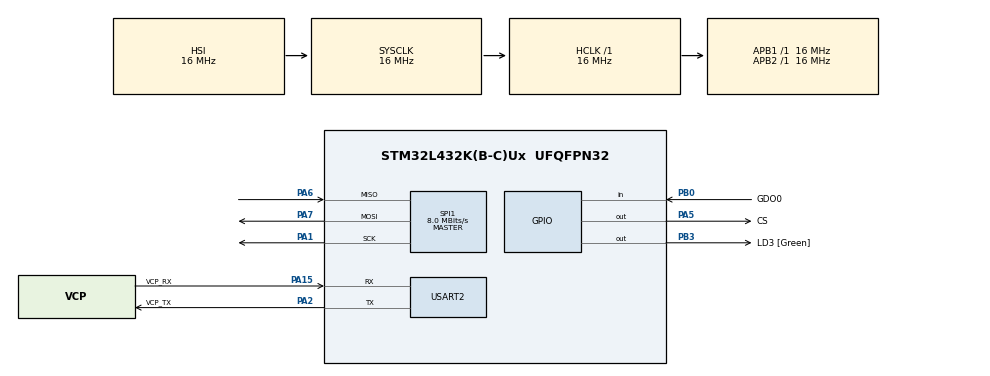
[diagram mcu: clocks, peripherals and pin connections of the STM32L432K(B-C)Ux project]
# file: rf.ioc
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Mcu.Family=STM32L4
Mcu.Name=STM32L432K(B-C)Ux
Mcu.Package=UFQFPN32
NVIC.PriorityGroup=NVIC_PRIORITYGROUP_4
NVIC.TIM1_UP_TIM16_IRQn=true\:0\:0\:false\:false\:true\:false\:true
NVIC.TimeBase=TIM1_UP_TIM16_IRQn
NVIC.TimeBaseIP=TIM1
PA0.GPIO_Label=MCO [High speed clock in]
PA0.Signal=RCC_CK_IN
PA1.Mode=Full_Duplex_Master
PA1.Signal=SPI1_SCK
PA13\ (JTMS-SWDIO).GPIO_Label=SWDIO
PA13\ (JTMS-SWDIO).Mode=Serial_Wire
PA13\ (JTMS-SWDIO).Signal=SYS_JTMS-SWDIO
PA14\ (JTCK-SWCLK).GPIO_Label=SWCLK
PA14\ (JTCK-SWCLK).Mode=Serial_Wire
PA14\ (JTCK-SWCLK).Signal=SYS_JTCK-SWCLK
PA15\ (JTDI).GPIO_Label=VCP_RX
PA15\ (JTDI).Mode=Asynchronous
PA15\ (JTDI).Signal=USART2_RX
PA2.GPIO_Label=VCP_TX
PA2.Mode=Asynchronous
PA2.Signal=USART2_TX
PA5.GPIO_Label=CS
PA5.Signal=GPIO_Output
PA6.Mode=Full_Duplex_Master
PA6.Signal=SPI1_MISO
PA7.Mode=Full_Duplex_Master
PA7.Signal=SPI1_MOSI
PB0.GPIO_Label=GDO0
PB0.Signal=GPIO_Input
PB3\ (JTDO-TRACESWO).GPIO_Label=LD3 [Green]
PB3\ (JTDO-TRACESWO).Signal=GPIO_Output
PC14-OSC32_IN\ (PC14).Mode=LSE-External-Oscillator
PC14-OSC32_IN\ (PC14).Signal=RCC_OSC32_IN
PC15-OSC32_OUT\ (PC15).Mode=LSE-External-Oscillator
PC15-OSC32_OUT\ (PC15).Signal=RCC_OSC32_OUT
ProjectManager.HeapSize=0x200
ProjectManager.StackSize=0x400
ProjectManager.TargetToolchain=STM32CubeIDE
RCC.ADCFreq_Value=16000000
RCC.AHBFreq_Value=16000000
RCC.APB1Freq_Value=16000000
RCC.APB1TimFreq_Value=16000000
RCC.APB2Freq_Value=16000000
RCC.APB2TimFreq_Value=16000000
RCC.CortexFreq_Value=16000000
RCC.HCLKFreq_Value=16000000
RCC.HSE_VALUE=8000000
RCC.HSI16_VALUE=16000000
RCC.HSI48_VALUE=48000000
RCC.HSI_VALUE=16000000
RCC.MSI_VALUE=4000000
RCC.PLLMUL=RCC_PLLMUL_4
RCC.PLLN=16
RCC.SYSCLKFreq_VALUE=16000000
RCC.SYSCLKSource=RCC_SYSCLKSOURCE_HSI
RCC.USBFreq_Value=16000000
RCC.VCOOutputFreq_Value=64000000
SPI1.BaudRatePrescaler=SPI_BAUDRATEPRESCALER_2
SPI1.CLKPhase=SPI_PHASE_1EDGE
SPI1.CalculateBaudRate=8.0 MBits/s
SPI1.DataSize=SPI_DATASIZE_8BIT
SPI1.Direction=SPI_DIRECTION_2LINES
SPI1.Mode=SPI_MODE_MASTER
SPI1.NSSPMode=SPI_NSS_PULSE_DISABLE
SPI1.VirtualType=VM_MASTER
USART2.VirtualMode-Asynchronous=VM_ASYNC
VP_SYS_VS_tim1.Mode=TIM1
board=NUCLEO-L432KC

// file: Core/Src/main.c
/* USER CODE BEGIN Header */
/**
  ******************************************************************************
  * @file           : main.c
  * @brief          : Main program body
  ******************************************************************************
  * @attention
  *
  * <h2><center>&copy; Copyright (c) 2020 STMicroelectronics.
  * All rights reserved.</center></h2>
  *
  * This software component is licensed by ST under BSD 3-Clause license,
  * the "License"; You may not use this file except in compliance with the
  * License. You may obtain a copy of the License at:
  *                        opensource.org/licenses/BSD-3-Clause
  *
  ******************************************************************************
  */
/* USER CODE END Header */

#include "main.h"

/* USER CODE BEGIN Includes */
#include "cc1101.h"

/* USER CODE END Includes */

/* USER CODE BEGIN PTD */
#define state 	0
  //to set transmitter   uint8_t state = 1;
  // to set receiver/modem uint8_t state = 0;
/* USER CODE END PTD */

SPI_HandleTypeDef hspi1;

UART_HandleTypeDef huart2;

/* USER CODE BEGIN PV */
volatile uint8_t GDO0_FLAG;

/* USER CODE END PV */

void SystemClock_Config(void);
static void MX_GPIO_Init(void);
static void MX_USART2_UART_Init(void);
static void MX_SPI1_Init(void);

/* USER CODE BEGIN 0 */
void UserLEDHide()
{
	 HAL_GPIO_WritePin(LD3_GPIO_Port, LD3_Pin, GPIO_PIN_RESET);
}

void UserLEDShow()
{
	 HAL_GPIO_WritePin(LD3_GPIO_Port, LD3_Pin, GPIO_PIN_SET);
}
/* USER CODE END 0 */

int main(void)
{

  /* MCU Configuration--------------------------------------------------------*/

  /* Reset of all peripherals, Initializes the Flash interface and the Systick. */
  HAL_Init();

  /* Configure the system clock */
  SystemClock_Config();

  /* Initialize all configured peripherals */
  MX_GPIO_Init();
  MX_USART2_UART_Init();
  MX_SPI1_Init();
  /* USER CODE BEGIN 2 */
  BYTE status;
  Power_up_reset();
  TI_init(&hspi1, CS_GPIO_Port, CS_Pin);

#if state
  //for transiver
  BYTE veri = 7;
  char packet[] = "RF Test";

  while (1)
  {

	  status = TI_read_status(CCxxx0_VERSION); // it is for checking only //sadece kontrol için
	  //it must be 0x14 //0x14 değeri vermelidir

	  status = TI_read_status(CCxxx0_TXBYTES); // it is too // bu da kontrol için

	  TI_strobe(CCxxx0_SFTX); // flush the buffer //bufferi temizler

	  UserLEDShow(); // turn on the led before send the data // veri göndermeden önce ledi yakar

	  TI_send_packet(packet, sizeof(packet)); //the function is sending the data

	  while(HAL_GPIO_ReadPin(GDO0_GPIO_Port, GDO0_Pin));
	  while(!HAL_GPIO_ReadPin(GDO0_GPIO_Port, GDO0_Pin));
	  //if the pass to this function, the data was sent. // veri gönderme işlemi tamamlanması için bekletir

	  status = TI_read_status(CCxxx0_TXBYTES); // it is checking to send the data //veri gönderildiğini kontrol etmek için

	  UserLEDHide(); // turn off the led // veri gönderildiğinde led söner
	  HAL_Delay(100);
  }

#else
  //for receiver/modem

  MX_USART2_UART_Init();
  init_serial(&huart2);

  char buffer[64];
  char mesaj[7];
  char kontrol[7] = {'R', 'F', ' ', 'T', 'e', 's', 't' };
  uint8_t value = 0;
  BYTE length;

  TI_write_reg(CCxxx0_IOCFG0, 0x06);
  //interrupt setting on GDO0 for data receiving with FIFO
  // GDO0 pininde FIFO ile kullanmak için interrupt ayarı

  /* EXTI interrupt init*/
  __HAL_GPIO_EXTI_CLEAR_IT(GPIO_PIN_0);
  HAL_NVIC_EnableIRQ(EXTI0_IRQn);

  while(1)
  {
	  BYTE status;
	  BYTE LQI;

	  __HAL_GPIO_EXTI_CLEAR_IT(GPIO_PIN_0);

	  GDO0_FLAG = 0;

	  TI_strobe(CCxxx0_SFRX);// Flush the buffer //Bufferi temizle
	  TI_strobe(CCxxx0_SRX); // Set RX Mode //RX moda ayarlar

	  while(GDO0_FLAG == 0);
	  //when the data came, it passes this fucntion
	  //veri geldiğinde bu adımı geçer

	  status = TI_read_status(CCxxx0_RXBYTES);
	  //it is for checking
	  // gelen datanın olup olmadığını denetler

	  if (!(status & 0x7f)) continue;
	  // if it get the data, the code can contuniue
	  // data gelirse, kod devam eder

	  LQI = TI_read_status(CCxxx0_LQI);
	  // LQI is quaility of the receiving data
	  // LQI gelen veri kalitesi

	  if (LQI & 0x80 /*CRC_OK*/)
	  {
		  status = TI_receive_packet(buffer, &length);//read function //okuma fonksiyonu

		  for(uint8_t i = 0; i <7; i++)//to check for receiving data // gelen datayı kontrol etmek için
		  {
			  mesaj[i] = buffer[i];
			  if(strcmp(mesaj[i], kontrol[i])!=0)
			  {
				  value = 1;
				  break;
			  }
		  }

		  //to send over uart on serial port with 9600baudrate
		  // Gelen datayı uart üzerinden 9600 baudrate ile seri porta gönderir
		  HAL_UART_Transmit(&huart2, (uint8_t*)mesaj, sizeof(mesaj), HAL_MAX_DELAY);
		  HAL_UART_Transmit(&huart2, "\n\r", 2, HAL_MAX_DELAY);

		  if (value == 0)
			  // if receiving data is equal to checking data, the led is blink
			  // eğer gelen data kontrol datasına eşitse, led yanıp söner
		  {
			  UserLEDShow();

			  HAL_Delay(50);

			  UserLEDHide();
		  }
	  }
	  else
	  {
		  status = TI_read_status(CCxxx0_PKTSTATUS); // if it isnt, check pktstatus // değilse, paket durumunu kontrol eder

		  GDO0_FLAG = 0;
	  }
  }
#endif

  /* USER CODE END 2 */

  /* Infinite loop */
  while (1)
  {

  }
}

void SystemClock_Config(void)
{
  RCC_OscInitTypeDef RCC_OscInitStruct = {0};
  RCC_ClkInitTypeDef RCC_ClkInitStruct = {0};
  RCC_PeriphCLKInitTypeDef PeriphClkInit = {0};

  /** Initializes the CPU, AHB and APB busses clocks
  */
  RCC_OscInitStruct.OscillatorType = RCC_OSCILLATORTYPE_HSI;
  RCC_OscInitStruct.HSIState = RCC_HSI_ON;
  RCC_OscInitStruct.HSICalibrationValue = RCC_HSICALIBRATION_DEFAULT;
  RCC_OscInitStruct.PLL.PLLState = RCC_PLL_NONE;
  if (HAL_RCC_OscConfig(&RCC_OscInitStruct) != HAL_OK)
  {
    Error_Handler();
  }
  /** Initializes the CPU, AHB and APB busses clocks
  */
  RCC_ClkInitStruct.ClockType = RCC_CLOCKTYPE_HCLK|RCC_CLOCKTYPE_SYSCLK
                              |RCC_CLOCKTYPE_PCLK1|RCC_CLOCKTYPE_PCLK2;
  RCC_ClkInitStruct.SYSCLKSource = RCC_SYSCLKSOURCE_HSI;
  RCC_ClkInitStruct.AHBCLKDivider = RCC_SYSCLK_DIV1;
  RCC_ClkInitStruct.APB1CLKDivider = RCC_HCLK_DIV1;
  RCC_ClkInitStruct.APB2CLKDivider = RCC_HCLK_DIV1;

  if (HAL_RCC_ClockConfig(&RCC_ClkInitStruct, FLASH_LATENCY_0) != HAL_OK)
  {
    Error_Handler();
  }
  PeriphClkInit.PeriphClockSelection = RCC_PERIPHCLK_USART2;
  PeriphClkInit.Usart2ClockSelection = RCC_USART2CLKSOURCE_PCLK1;
  if (HAL_RCCEx_PeriphCLKConfig(&PeriphClkInit) != HAL_OK)
  {
    Error_Handler();
  }
  /** Configure the main internal regulator output voltage
  */
  if (HAL_PWREx_ControlVoltageScaling(PWR_REGULATOR_VOLTAGE_SCALE1) != HAL_OK)
  {
    Error_Handler();
  }
}

static void MX_SPI1_Init(void)
{

  /* SPI1 parameter configuration*/
  hspi1.Instance = SPI1;
  hspi1.Init.Mode = SPI_MODE_MASTER;
  hspi1.Init.Direction = SPI_DIRECTION_2LINES;
  hspi1.Init.DataSize = SPI_DATASIZE_8BIT;
  hspi1.Init.CLKPolarity = SPI_POLARITY_LOW;
  hspi1.Init.CLKPhase = SPI_PHASE_1EDGE;
  hspi1.Init.NSS = SPI_NSS_SOFT;
  hspi1.Init.BaudRatePrescaler = SPI_BAUDRATEPRESCALER_2;
  hspi1.Init.FirstBit = SPI_FIRSTBIT_MSB;
  hspi1.Init.TIMode = SPI_TIMODE_DISABLE;
  hspi1.Init.CRCCalculation = SPI_CRCCALCULATION_DISABLE;
  hspi1.Init.CRCPolynomial = 7;
  hspi1.Init.CRCLength = SPI_CRC_LENGTH_DATASIZE;
  hspi1.Init.NSSPMode = SPI_NSS_PULSE_DISABLE;
  if (HAL_SPI_Init(&hspi1) != HAL_OK)
  {
    Error_Handler();
  }

}

static void MX_USART2_UART_Init(void)
{

  huart2.Instance = USART2;
  huart2.Init.BaudRate = 9600;
  huart2.Init.WordLength = UART_WORDLENGTH_8B;
  huart2.Init.StopBits = UART_STOPBITS_1;
  huart2.Init.Parity = UART_PARITY_NONE;
  huart2.Init.Mode = UART_MODE_TX_RX;
  huart2.Init.HwFlowCtl = UART_HWCONTROL_NONE;
  huart2.Init.OverSampling = UART_OVERSAMPLING_16;
  huart2.Init.OneBitSampling = UART_ONE_BIT_SAMPLE_DISABLE;
  huart2.AdvancedInit.AdvFeatureInit = UART_ADVFEATURE_NO_INIT;
  if (HAL_UART_Init(&huart2) != HAL_OK)
  {
    Error_Handler();
  }

}

static void MX_GPIO_Init(void)
{
  GPIO_InitTypeDef GPIO_InitStruct = {0};

  /* GPIO Ports Clock Enable */
  __HAL_RCC_GPIOC_CLK_ENABLE();
  __HAL_RCC_GPIOA_CLK_ENABLE();
  __HAL_RCC_GPIOB_CLK_ENABLE();

  /*Configure GPIO pin Output Level */
  HAL_GPIO_WritePin(CS_GPIO_Port, CS_Pin, GPIO_PIN_RESET);

  /*Configure GPIO pin Output Level */
  HAL_GPIO_WritePin(LD3_GPIO_Port, LD3_Pin, GPIO_PIN_RESET);

  /*Configure GPIO pin : CS_Pin */
  GPIO_InitStruct.Pin = CS_Pin;
  GPIO_InitStruct.Mode = GPIO_MODE_OUTPUT_PP;
  GPIO_InitStruct.Pull = GPIO_NOPULL;
  GPIO_InitStruct.Speed = GPIO_SPEED_FREQ_MEDIUM;
  HAL_GPIO_Init(CS_GPIO_Port, &GPIO_InitStruct);

#if state
  //for transiver
	/*Configure GPIO pin : GDO0_Pin */
	GPIO_InitStruct.Pin = GDO0_Pin;
	GPIO_InitStruct.Mode = GPIO_MODE_INPUT;
	GPIO_InitStruct.Pull = GPIO_PULLUP;
	HAL_GPIO_Init(GDO0_GPIO_Port, &GPIO_InitStruct);

#else
	//for receiver/modem
  /*Configure GPIO pin : GDO0_Pin */
  GPIO_InitStruct.Pin = GDO0_Pin;
  GPIO_InitStruct.Mode = GPIO_MODE_IT_FALLING;
  GPIO_InitStruct.Pull = GPIO_PULLUP;
  HAL_GPIO_Init(GDO0_GPIO_Port, &GPIO_InitStruct);
#endif

  /*Configure GPIO pin : LD3_Pin */
  GPIO_InitStruct.Pin = LD3_Pin;
  GPIO_InitStruct.Mode = GPIO_MODE_OUTPUT_PP;
  GPIO_InitStruct.Pull = GPIO_NOPULL;
  GPIO_InitStruct.Speed = GPIO_SPEED_FREQ_MEDIUM;
  HAL_GPIO_Init(LD3_GPIO_Port, &GPIO_InitStruct);

}

/* USER CODE BEGIN 4 */
#if state == 0
//for receiver/modem
void HAL_GPIO_EXTI_Callback(uint16_t GPIO_Pin)
{
	//if it get the receiving data, the interrupt works
	// eğer gelen data gelirse, kesme çalışır.
	if(GPIO_Pin == GDO0_Pin){
			GDO0_FLAG = 1;
		}
}
#endif
/* USER CODE END 4 */

void HAL_TIM_PeriodElapsedCallback(TIM_HandleTypeDef *htim)
{
  if (htim->Instance == TIM1) {
    HAL_IncTick();
  }
}

void Error_Handler(void)
{
}

/************************ (C) COPYRIGHT STMicroelectronics *****END OF FILE****/
